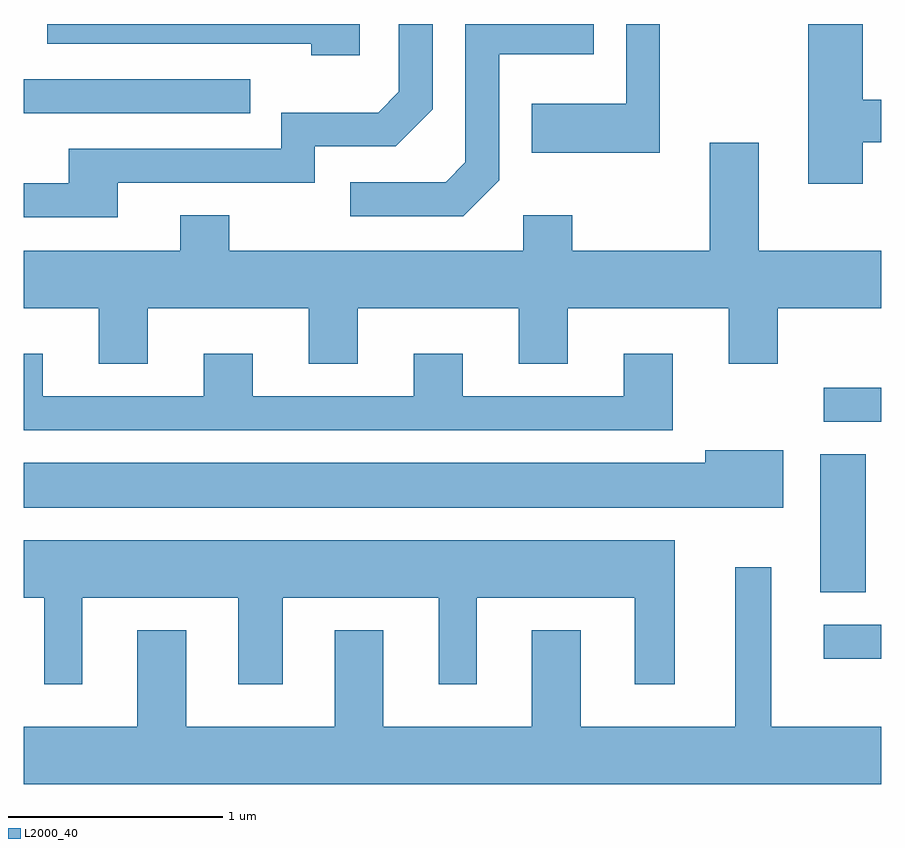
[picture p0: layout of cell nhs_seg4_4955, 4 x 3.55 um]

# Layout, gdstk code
import gdstk
lib = gdstk.Library(unit=1e-6, precision=1e-09)
def R(c, l, rs):  # rectangles x0, y0, x1, y1
    for r in rs: c.add(gdstk.rectangle(r[:2], r[2:], *l))
def P(c, l, *ps):  # polygons
    for p in ps: c.add(gdstk.Polygon(p, *l))
L2000_40 = (2000, 40)

nhs_seg4_4955 = lib.new_cell('nhs_seg4_4955')
R(nhs_seg4_4955, L2000_40, [(333.343,1373.021,333.611,1373.179), (333.326,1373.331,333.539,1373.974), (333.343,1374.126,333.611,1374.284), (329.611,1375.566,330.668,1375.724)])
P(nhs_seg4_4955, L2000_40, [(330.049,1375.241),(330.969,1375.241),(330.969,1375.411),(331.347,1375.411),(331.519,1375.584),(331.519,1375.982),(331.361,1375.982),(331.361,1375.667),(331.264,1375.569),(330.811,1375.569),(330.811,1375.399),(329.821,1375.399),(329.821,1375.239),(329.611,1375.239),(329.611,1375.081),(330.049,1375.081)],
  [(331.179,1375.982),(329.721,1375.982),(329.721,1375.891),(330.951,1375.891),(330.951,1375.836),(331.179,1375.836)],
  [(331.829,1375.254),(331.829,1375.841),(332.269,1375.841),(332.269,1375.982),(331.671,1375.982),(331.671,1375.337),(331.579,1375.244),(331.133,1375.244),(331.133,1375.086),(331.662,1375.086)],
  [(333.524,1375.431),(333.611,1375.431),(333.611,1375.629),(333.524,1375.629),(333.524,1375.982),(333.271,1375.982),(333.271,1375.236),(333.524,1375.236)],
  [(332.579,1375.982),(332.421,1375.982),(332.421,1375.609),(331.981,1375.609),(331.981,1375.381),(332.579,1375.381)],
  [(332.811,1375.429),(332.811,1374.924),(332.169,1374.924),(332.169,1375.089),(331.941,1375.089),(331.941,1374.924),(330.569,1374.924),(330.569,1375.089),(330.341,1375.089),(330.341,1374.924),(329.611,1374.924),(329.611,1374.656),(329.961,1374.656),(329.961,1374.396),(330.189,1374.396),(330.189,1374.656),(330.941,1374.656),(330.941,1374.396),(331.169,1374.396),(331.169,1374.656),(331.921,1374.656),(331.921,1374.396),(332.149,1374.396),(332.149,1374.656),(332.901,1374.656),(332.901,1374.396),(333.129,1374.396),(333.129,1374.656),(333.611,1374.656),(333.611,1374.924),(333.039,1374.924),(333.039,1375.429)],
  [(332.639,1374.444),(332.411,1374.444),(332.411,1374.244),(331.659,1374.244),(331.659,1374.444),(331.431,1374.444),(331.431,1374.244),(330.679,1374.244),(330.679,1374.444),(330.451,1374.444),(330.451,1374.244),(329.699,1374.244),(329.699,1374.444),(329.611,1374.444),(329.611,1374.086),(332.639,1374.086)],
  [(333.154,1373.994),(332.791,1373.994),(332.791,1373.934),(329.611,1373.934),(329.611,1373.726),(333.154,1373.726)],
  [(329.884,1373.306),(330.611,1373.306),(330.611,1372.901),(330.819,1372.901),(330.819,1373.306),(331.546,1373.306),(331.546,1372.901),(331.724,1372.901),(331.724,1373.306),(332.461,1373.306),(332.461,1372.901),(332.649,1372.901),(332.649,1373.574),(329.611,1373.574),(329.611,1373.306),(329.706,1373.306),(329.706,1372.901),(329.884,1372.901)],
  [(333.611,1372.704),(333.099,1372.704),(333.099,1373.448),(332.931,1373.448),(332.931,1372.704),(332.209,1372.704),(332.209,1373.154),(331.981,1373.154),(331.981,1372.704),(331.289,1372.704),(331.289,1373.154),(331.061,1373.154),(331.061,1372.704),(330.369,1372.704),(330.369,1373.154),(330.141,1373.154),(330.141,1372.704),(329.611,1372.704),(329.611,1372.436),(333.611,1372.436)])

lib.write_gds('nhs_seg4_4955.gds')
